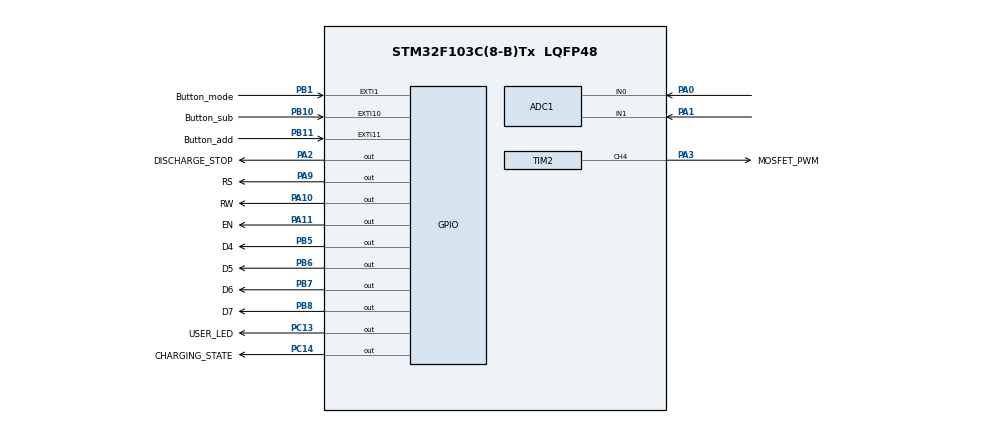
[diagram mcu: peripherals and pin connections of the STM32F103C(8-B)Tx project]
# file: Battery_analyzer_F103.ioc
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ADC1.Channel-2\#ChannelRegularConversion=ADC_CHANNEL_0
ADC1.Channel-3\#ChannelInjectedConversion=ADC_CHANNEL_VREFINT
ADC1.Channel-4\#ChannelRegularConversion=ADC_CHANNEL_1
ADC1.EnableInjectedConversion=ENABLE
ADC1.EnableRegularConversion=ENABLE
ADC1.ExternalTrigConv=ADC_EXTERNALTRIGCONV_T3_TRGO
ADC1.InjNumberOfConversion=1
ADC1.InjectedOffset-3\#ChannelInjectedConversion=0
ADC1.InjectedRank-3\#ChannelInjectedConversion=1
ADC1.NbrOfConversion=2
ADC1.NbrOfConversionFlag=1
ADC1.Rank-2\#ChannelRegularConversion=1
ADC1.Rank-4\#ChannelRegularConversion=2
ADC1.SamplingTime-2\#ChannelRegularConversion=ADC_SAMPLETIME_28CYCLES_5
ADC1.SamplingTime-3\#ChannelInjectedConversion=ADC_SAMPLETIME_71CYCLES_5
ADC1.SamplingTime-4\#ChannelRegularConversion=ADC_SAMPLETIME_28CYCLES_5
ADC1.master=1
Dma.ADC1.0.Direction=DMA_PERIPH_TO_MEMORY
Dma.ADC1.0.Instance=DMA1_Channel1
Dma.ADC1.0.MemDataAlignment=DMA_MDATAALIGN_HALFWORD
Dma.ADC1.0.MemInc=DMA_MINC_ENABLE
Dma.ADC1.0.Mode=DMA_CIRCULAR
Dma.ADC1.0.PeriphDataAlignment=DMA_PDATAALIGN_HALFWORD
Dma.ADC1.0.PeriphInc=DMA_PINC_DISABLE
Dma.ADC1.0.Priority=DMA_PRIORITY_LOW
Dma.Request0=ADC1
Mcu.Family=STM32F1
Mcu.Name=STM32F103C(8-B)Tx
Mcu.Package=LQFP48
NVIC.ADC1_2_IRQn=true\:0\:0\:false\:false\:true\:true\:true\:true
NVIC.DMA1_Channel1_IRQn=true\:0\:0\:false\:false\:true\:false\:true\:true
NVIC.EXTI15_10_IRQn=true\:0\:0\:false\:false\:true\:true\:true\:true
NVIC.EXTI1_IRQn=true\:0\:0\:false\:false\:true\:true\:true\:true
NVIC.PriorityGroup=NVIC_PRIORITYGROUP_4
NVIC.TIM3_IRQn=true\:0\:0\:false\:false\:true\:true\:true\:true
PA0-WKUP.Signal=ADCx_IN0
PA1.Signal=ADCx_IN1
PA10.GPIO_Label=RW
PA10.GPIO_PuPd=GPIO_PULLDOWN
PA10.GPIO_Speed=GPIO_SPEED_FREQ_HIGH
PA10.Signal=GPIO_Output
PA11.GPIO_Label=EN
PA11.GPIO_PuPd=GPIO_PULLDOWN
PA11.GPIO_Speed=GPIO_SPEED_FREQ_HIGH
PA11.Signal=GPIO_Output
PA13.Mode=Trace_Asynchronous_SW
PA13.Signal=SYS_JTMS-SWDIO
PA14.Mode=Trace_Asynchronous_SW
PA14.Signal=SYS_JTCK-SWCLK
PA2.GPIO_Label=DISCHARGE_STOP
PA2.GPIO_ModeDefaultOutputPP=GPIO_MODE_OUTPUT_PP
PA2.GPIO_PuPd=GPIO_NOPULL
PA2.Signal=GPIO_Output
PA3.GPIO_Label=MOSFET_PWM
PA3.GPIO_ModeDefaultPP=GPIO_MODE_AF_PP
PA3.GPIO_Speed=GPIO_SPEED_FREQ_HIGH
PA3.Signal=S_TIM2_CH4
PA9.GPIO_Label=RS
PA9.GPIO_PuPd=GPIO_PULLDOWN
PA9.GPIO_Speed=GPIO_SPEED_FREQ_HIGH
PA9.Signal=GPIO_Output
PB1.GPIO_Label=Button_mode
PB1.GPIO_ModeDefaultEXTI=GPIO_MODE_IT_RISING
PB1.GPIO_PuPd=GPIO_PULLDOWN
PB1.Signal=GPXTI1
PB10.GPIO_Label=Button_sub
PB10.GPIO_ModeDefaultEXTI=GPIO_MODE_IT_RISING
PB10.GPIO_PuPd=GPIO_PULLDOWN
PB10.Signal=GPXTI10
PB11.GPIO_Label=Button_add
PB11.GPIO_ModeDefaultEXTI=GPIO_MODE_IT_RISING
PB11.GPIO_PuPd=GPIO_PULLDOWN
PB11.Signal=GPXTI11
PB3.Mode=Trace_Asynchronous_SW
PB3.Signal=SYS_JTDO-TRACESWO
PB5.GPIO_Label=D4
PB5.GPIO_PuPd=GPIO_NOPULL
PB5.GPIO_Speed=GPIO_SPEED_FREQ_HIGH
PB5.Signal=GPIO_Output
PB6.GPIO_Label=D5
PB6.GPIO_PuPd=GPIO_NOPULL
PB6.GPIO_Speed=GPIO_SPEED_FREQ_HIGH
PB6.Signal=GPIO_Output
PB7.GPIO_Label=D6
PB7.GPIO_PuPd=GPIO_NOPULL
PB7.GPIO_Speed=GPIO_SPEED_FREQ_HIGH
PB7.Signal=GPIO_Output
PB8.GPIO_Label=D7
PB8.GPIO_PuPd=GPIO_NOPULL
PB8.GPIO_Speed=GPIO_SPEED_FREQ_HIGH
PB8.Signal=GPIO_Output
PC13-TAMPER-RTC.GPIO_Label=USER_LED
PC13-TAMPER-RTC.Signal=GPIO_Output
PC14-OSC32_IN.GPIO_Label=CHARGING_STATE
PC14-OSC32_IN.Signal=GPIO_Output
PD0-OSC_IN.Mode=HSE-External-Oscillator
PD0-OSC_IN.Signal=RCC_OSC_IN
PD1-OSC_OUT.Mode=HSE-External-Oscillator
PD1-OSC_OUT.Signal=RCC_OSC_OUT
ProjectManager.HeapSize=0x100
ProjectManager.StackSize=0x200
ProjectManager.TargetToolchain=STM32CubeIDE
RCC.APB1Freq_Value=8000000
RCC.APB2Freq_Value=8000000
RCC.PLLMUL=RCC_PLL_MUL6
RCC.PLLSourceVirtual=RCC_PLLSOURCE_HSE
RCC.SYSCLKSource=RCC_SYSCLKSOURCE_HSE
RCC.USBFreq_Value=48000000
SH.ADCx_IN0.0=ADC1_IN0,IN0
SH.ADCx_IN1.0=ADC1_IN1,IN1
SH.S_TIM2_CH4.0=TIM2_CH4,PWM Generation4 CH4
TIM2.AutoReloadPreload=TIM_AUTORELOAD_PRELOAD_ENABLE
TIM2.Channel-PWM\ Generation4\ CH4=TIM_CHANNEL_4
TIM2.Period=200-1
TIM2.Prescaler=0
TIM2.Pulse-PWM\ Generation4\ CH4=0
TIM3.Period=500-1
TIM3.Prescaler=8-1
TIM3.TIM_MasterOutputTrigger=TIM_TRGO_UPDATE
TIM4.Period=50000-1
TIM4.Prescaler=8-1
VP_ADC1_Vref_Input.Mode=IN-Vrefint
VP_TIM2_VS_ClockSourceINT.Mode=Internal
VP_TIM3_VS_ClockSourceINT.Mode=Internal
VP_TIM4_VS_ClockSourceINT.Mode=Internal
board=custom

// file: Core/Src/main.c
/* USER CODE BEGIN Header */
/**
 ******************************************************************************
 * @file           : main.c
 * @brief          : Main program body
 ******************************************************************************
 * @attention
 *
 * Copyright (c) 2025 STMicroelectronics.
 * All rights reserved.
 *
 * This software is licensed under terms that can be found in the LICENSE file
 * in the root directory of this software component.
 * If no LICENSE file comes with this software, it is provided AS-IS.
 *
 ******************************************************************************
 */
/* USER CODE END Header */
#include "main.h"
#include "adc.h"
#include "dma.h"
#include "tim.h"
#include "gpio.h"

/* USER CODE BEGIN Includes */
#include "LCD_16x2_PARALLEL.h"
#include <stdio.h>
#include <string.h>
/* USER CODE END Includes */

/* USER CODE BEGIN PD */
#define ALIGN_NO 0
#define ALIGN_LEFT 1
#define ALIGN_RIGHT 2
#define ALIGN_CENTER 3
#define BUTTON_DEBOUNCE_MS 30//30 ms for debouncing
#define BUTTON_LONG_PRESS 1000//2s long press

#define LCD_BUFFER_SIZE 32
#define R_load 0.22 //load ohms
#define R_divider_multiplier 1/(50/270.0f) // 50k/270k voltage divider to calculate battery voltage
#define Vrefint 1.2 //1.2V internal reference voltage
#define OVERCURRENT_VALUE 2000 // 2 A trip current
#define ADC_steps 4096

#define ADC_DMA_SIZE 100 //0.5ms sampling rate, 25 values on half callback, 2 channels, ping pong buffer
#define ADC_TRIGGER_FREQ_HZ 2000.0f //counter update rate
#define ADC_SAMPLES_PER_CHANNEL 25.0f
#define TIME_SLICE_S ADC_SAMPLES_PER_CHANNEL/ADC_TRIGGER_FREQ_HZ
#define MAH_CONVERSION (TIME_SLICE_S/3600.0f)
/* USER CODE END PD */

/* USER CODE BEGIN PV */
/*
 * 	START,
	SETUP,
	DISCHARGE,
	PAUSED,
	FINISH
 */
volatile FSM_states STATE_MCU_CURRENT = START;
volatile FSM_states STATE_MCU_PREVIOUS = START;
volatile SETUP_set SETUP_CONFIGURATION = SETUP_PARAM_DISCHARGE_CURRENT;

char LCD_buffer[LCD_BUFFER_SIZE];
uint16_t ADC_Values[ADC_DMA_SIZE];//ping pong buffer

volatile float Vdda = 3.3; //ref for measurements, calculated later by ADC with internal ref
volatile uint8_t updateScreenRequest = 1;//update at setup on first frame
volatile uint8_t button_activity = 0;
volatile uint8_t OverCurrent_indication = 0;
volatile uint32_t last_button_time = 0;

volatile uint16_t Discharge_current = 500;//mA
volatile uint16_t Cutoff_voltage = 3000;//mV

volatile uint32_t ADC_VOLTAGE_ACCUM = 0;
volatile uint32_t ADC_CURRENT_ACCUM = 0;
volatile uint16_t ADC_READING_COUNTER = 0;
volatile DischargeDisplayData_t DischargeDisplayData = {0};
/* USER CODE END PV */

void SystemClock_Config(void);
/* USER CODE BEGIN PFP */
int _write(int le, char *ptr, int len);
void DELAY_US(uint16_t TIME_US);
void charAddPadding(char* buffer, uint8_t align,uint8_t size);
void updateScreen();
void formatCharToLCD(char* message, uint8_t place, uint8_t level, uint8_t Padding);
void PWM_Control_loop(TIM_HandleTypeDef *htim, uint16_t *current, uint16_t voltage);
uint16_t CurrentToVoltage(uint32_t Shunt_voltage);//voltage on sense resistor
/* USER CODE END PFP */

int main(void)
{

  /* USER CODE BEGIN 1 */
	static uint32_t last_tick;
  /* USER CODE END 1 */

  /* MCU Configuration--------------------------------------------------------*/

  /* Reset of all peripherals, Initializes the Flash interface and the Systick. */
  HAL_Init();

  /* Configure the system clock */
  SystemClock_Config();

  /* Initialize all configured peripherals */
  MX_GPIO_Init();
  MX_DMA_Init();
  MX_TIM4_Init();
  MX_TIM3_Init();
  MX_ADC1_Init();
  MX_TIM2_Init();
  /* USER CODE BEGIN 2 */
	HAL_GPIO_WritePin(DISCHARGE_STOP_GPIO_Port, DISCHARGE_STOP_Pin,GPIO_PIN_SET);// OP AMP inv input to turn off discharge

	if(HAL_ADCEx_Calibration_Start(&hadc1) !=HAL_OK)
	{
		HAL_GPIO_WritePin(USER_LED_GPIO_Port, USER_LED_Pin, GPIO_PIN_SET);
		Error_Handler();
	}
	if(HAL_TIM_Base_Start_IT(&htim4)!=HAL_OK)//TIM2 for DELAY_US
	{
		HAL_GPIO_WritePin(USER_LED_GPIO_Port, USER_LED_Pin, GPIO_PIN_SET);
		Error_Handler();
	}

	HAL_Delay(500);// wait for DC point

	//Read internal reference for VDDA
	HAL_ADCEx_InjectedStart(&hadc1);
	HAL_ADCEx_InjectedPollForConversion(&hadc1, 500);
	uint16_t Vadc = HAL_ADCEx_InjectedGetValue(&hadc1, ADC_INJECTED_RANK_1);
	Vdda = 1.0*ADC_steps/Vadc*Vrefint;

	/*
	 * @brief Init in 4 bit LCD 16x2
	 */
	LCD_Init();
  /* USER CODE END 2 */

  /* Infinite loop */
  /* USER CODE BEGIN WHILE */
	while (1)
	{
		if(updateScreenRequest)//only perform LCD switch states on gpio change
		{
			updateScreen();
		}

		switch(STATE_MCU_CURRENT)
		{
		case  SETUP:
		{
			break;
		}
		case  DISCHARGE:
		{
			//ONCE TO DO
			if(STATE_MCU_CURRENT != STATE_MCU_PREVIOUS)
			{
				DischargeDisplayData.capacity_mah = 0;

				if(HAL_TIM_Base_Start_IT(&htim3)!=HAL_OK)//TIM3 for SAMPLING
				{
					HAL_GPIO_WritePin(USER_LED_GPIO_Port, USER_LED_Pin, GPIO_PIN_SET);
					Error_Handler();
				}
				if(HAL_ADC_Start_DMA(&hadc1, (uint32_t*)ADC_Values, ADC_DMA_SIZE)!=HAL_OK)//ADC SAMPLING DMA
				{
					HAL_GPIO_WritePin(USER_LED_GPIO_Port, USER_LED_Pin, GPIO_PIN_SET);
					Error_Handler();
				}
				if(HAL_TIM_PWM_Start(&htim2, TIM_CHANNEL_4)!=HAL_OK)//TIM2 for MOSFET PWM
				{
					HAL_GPIO_WritePin(USER_LED_GPIO_Port, USER_LED_Pin, GPIO_PIN_SET);
					Error_Handler();
				}
				STATE_MCU_PREVIOUS = STATE_MCU_CURRENT;
				DischargeDisplayData.start_time = uwTick;
				HAL_GPIO_WritePin(CHARGING_STATE_GPIO_Port, CHARGING_STATE_Pin,GPIO_PIN_RESET); // indication for charging
				HAL_GPIO_WritePin(DISCHARGE_STOP_GPIO_Port, DISCHARGE_STOP_Pin,GPIO_PIN_RESET);
				last_tick = uwTick;
				break;
			}

			//PERIODIC UPDATE
			if(uwTick - last_tick > 500)// 0.5s refresh rate
			{
				updateScreenRequest=1;
				uint32_t local_temp_volt;
				uint32_t local_temp_curr;
				uint16_t local_temp_count;

				__disable_irq();
				local_temp_volt = ADC_VOLTAGE_ACCUM;
				local_temp_curr = ADC_CURRENT_ACCUM;
				local_temp_count = ADC_READING_COUNTER;

				ADC_READING_COUNTER=0;
				ADC_CURRENT_ACCUM=0;
				ADC_VOLTAGE_ACCUM=0;
				__enable_irq();

				DischargeDisplayData.voltage = Vdda*local_temp_volt/local_temp_count/ADC_steps*R_divider_multiplier;//convert from ADC to Voltage NOT CORRECT
				DischargeDisplayData.current_ma = Vdda*local_temp_curr/local_temp_count/R_load/ADC_steps*1000;//curr is voltage(XD)

				last_tick = uwTick;

				if(HAL_GPIO_ReadPin(Button_add_GPIO_Port, Button_add_Pin)==GPIO_PIN_SET)
				{
					TIM2->CCR4 += 10;
				}

				if(HAL_GPIO_ReadPin(Button_sub_GPIO_Port, Button_sub_Pin)==GPIO_PIN_SET)
				{
					TIM2->CCR4 -= 10;
				}
			}
			break;
		}
		case  FINISH:
		{
			if(STATE_MCU_CURRENT != STATE_MCU_PREVIOUS)
			{
				if(HAL_TIM_Base_Stop_IT(&htim3)!=HAL_OK)//TIM3 for SAMPLING
				{
					HAL_GPIO_WritePin(USER_LED_GPIO_Port, USER_LED_Pin, GPIO_PIN_SET);
					Error_Handler();
				}
				if(HAL_ADC_Stop_DMA(&hadc1)!=HAL_OK)//ADC SAMPLING DMA
				{
					HAL_GPIO_WritePin(USER_LED_GPIO_Port, USER_LED_Pin, GPIO_PIN_SET);
					Error_Handler();
				}
				if(HAL_TIM_PWM_Stop(&htim2, TIM_CHANNEL_4)!=HAL_OK)//TIM2 for MOSFET PWM
				{
					HAL_GPIO_WritePin(USER_LED_GPIO_Port, USER_LED_Pin, GPIO_PIN_SET);
					Error_Handler();
				}
				STATE_MCU_PREVIOUS = STATE_MCU_CURRENT; //IMPLEMENTED IN BUTTON THE START
				HAL_GPIO_WritePin(CHARGING_STATE_GPIO_Port, CHARGING_STATE_Pin,GPIO_PIN_SET); // indication for charging
				HAL_GPIO_WritePin(DISCHARGE_STOP_GPIO_Port, DISCHARGE_STOP_Pin,GPIO_PIN_RESET);
				updateScreenRequest = 1;
				break;
			}
			break;
		}
		case  PAUSED:
		{

			break;
		}
		default:
		{

			break;
		}
		}

		if(button_activity)
		{
			if(HAL_GPIO_ReadPin(Button_mode_GPIO_Port, Button_mode_Pin) == GPIO_PIN_SET)
			{
				if(STATE_MCU_CURRENT == SETUP)
				{
					SETUP_CONFIGURATION = 	(SETUP_CONFIGURATION+1)%SETUP_PARAM_COUNT;
					while(HAL_GPIO_ReadPin(Button_mode_GPIO_Port, Button_mode_Pin) == GPIO_PIN_SET)
					{
						if(uwTick-last_button_time > BUTTON_LONG_PRESS)
						{
							STATE_MCU_CURRENT = DISCHARGE;
							STATE_MCU_PREVIOUS = SETUP;
							last_button_time = uwTick;
							break;//stop the loop, since its in different state now
						}
					}
				}

				if (STATE_MCU_CURRENT == DISCHARGE)
				{
						HAL_GPIO_TogglePin(DISCHARGE_STOP_GPIO_Port, DISCHARGE_STOP_Pin);
				}
				if(STATE_MCU_CURRENT == FINISH)
				{
					//reset for setup to start over
					STATE_MCU_CURRENT = SETUP;
					STATE_MCU_PREVIOUS = FINISH;
				}
			}

			else if(HAL_GPIO_ReadPin(Button_add_GPIO_Port, Button_add_Pin) == GPIO_PIN_SET)
			{
				if(STATE_MCU_CURRENT == SETUP)
				{
					if(SETUP_CONFIGURATION == SETUP_PARAM_CUTOFF_VOLTAGE)
					{
						Cutoff_voltage += 100;// 100 mV step
					}
					else if(SETUP_CONFIGURATION == SETUP_PARAM_DISCHARGE_CURRENT)
					{
						Discharge_current+=10;// 10 mA step
					}
					while(HAL_GPIO_ReadPin(Button_add_GPIO_Port, Button_add_Pin) == GPIO_PIN_SET)
					{
						if(uwTick-last_button_time > BUTTON_LONG_PRESS)
						{
							if(SETUP_CONFIGURATION == SETUP_PARAM_CUTOFF_VOLTAGE)
							{
								Cutoff_voltage += 100;// 100 mV step
							}
							else if(SETUP_CONFIGURATION == SETUP_PARAM_DISCHARGE_CURRENT)
							{
								Discharge_current+=10;// 10 mA step
							}
							DELAY_US(10000);
							updateScreen();//periodically update because of the auto increment
						}
					}
					last_button_time = uwTick;
				}
			}

			else if(HAL_GPIO_ReadPin(Button_sub_GPIO_Port, Button_sub_Pin) == GPIO_PIN_SET)
			{
				if(STATE_MCU_CURRENT == SETUP)
				{
					if(SETUP_CONFIGURATION == SETUP_PARAM_CUTOFF_VOLTAGE)
					{
						Cutoff_voltage -= 100;// 100 mV step
					}
					else if(SETUP_CONFIGURATION == SETUP_PARAM_DISCHARGE_CURRENT)
					{
						Discharge_current-=10;// 10 mA step
					}
					while(HAL_GPIO_ReadPin(Button_sub_GPIO_Port, Button_sub_Pin) == GPIO_PIN_SET)
					{
						if(uwTick-last_button_time > BUTTON_LONG_PRESS)
						{
							if(SETUP_CONFIGURATION == SETUP_PARAM_CUTOFF_VOLTAGE)
							{
								Cutoff_voltage -= 100;// 100 mV step
							}
							else if(SETUP_CONFIGURATION == SETUP_PARAM_DISCHARGE_CURRENT)
							{
								Discharge_current-=10;// 10 mA step
							}
							DELAY_US(10000);
							updateScreen();//periodically update because of the auto increment
						}
					}
					last_button_time = uwTick;
				}
			}
			button_activity = 0;
			updateScreenRequest = 1;
		}
	}

    /* USER CODE END WHILE */

}

void SystemClock_Config(void)
{
  RCC_OscInitTypeDef RCC_OscInitStruct = {0};
  RCC_ClkInitTypeDef RCC_ClkInitStruct = {0};
  RCC_PeriphCLKInitTypeDef PeriphClkInit = {0};

  /** Initializes the RCC Oscillators according to the specified parameters
  * in the RCC_OscInitTypeDef structure.
  */
  RCC_OscInitStruct.OscillatorType = RCC_OSCILLATORTYPE_HSE;
  RCC_OscInitStruct.HSEState = RCC_HSE_ON;
  RCC_OscInitStruct.PLL.PLLState = RCC_PLL_NONE;
  if (HAL_RCC_OscConfig(&RCC_OscInitStruct) != HAL_OK)
  {
    Error_Handler();
  }

  /** Initializes the CPU, AHB and APB buses clocks
  */
  RCC_ClkInitStruct.ClockType = RCC_CLOCKTYPE_HCLK|RCC_CLOCKTYPE_SYSCLK
                              |RCC_CLOCKTYPE_PCLK1|RCC_CLOCKTYPE_PCLK2;
  RCC_ClkInitStruct.SYSCLKSource = RCC_SYSCLKSOURCE_HSE;
  RCC_ClkInitStruct.AHBCLKDivider = RCC_SYSCLK_DIV1;
  RCC_ClkInitStruct.APB1CLKDivider = RCC_HCLK_DIV1;
  RCC_ClkInitStruct.APB2CLKDivider = RCC_HCLK_DIV1;

  if (HAL_RCC_ClockConfig(&RCC_ClkInitStruct, FLASH_LATENCY_0) != HAL_OK)
  {
    Error_Handler();
  }
  PeriphClkInit.PeriphClockSelection = RCC_PERIPHCLK_ADC;
  PeriphClkInit.AdcClockSelection = RCC_ADCPCLK2_DIV2;
  if (HAL_RCCEx_PeriphCLKConfig(&PeriphClkInit) != HAL_OK)
  {
    Error_Handler();
  }
}

/* USER CODE BEGIN 4 */
void DELAY_US(uint16_t TIME_US)
{
	uint32_t old_timer_value = TIM4->CNT;
	uint32_t target_time = (old_timer_value + TIME_US) % (TIM4->ARR + 1);

	if (target_time < old_timer_value)  // Handle timer overflow
	{
		while (TIM4->CNT >= old_timer_value);  // Wait for overflow
	}
	while (TIM4->CNT < target_time);  // Wait until target time is reached
}
void updateScreen()
{
	static uint32_t elapsed_time;
	updateScreenRequest = 0;
	switch(STATE_MCU_CURRENT)
	{
	case  START:
	{
		LCD_Init();

		sprintf(LCD_buffer,"Battery analyzer");
		formatCharToLCD(LCD_buffer,0,0,ALIGN_LEFT);

		sprintf(LCD_buffer,"BatVinux");
		formatCharToLCD(LCD_buffer,0,1,ALIGN_CENTER);

		HAL_Delay(1000);
		STATE_MCU_CURRENT = SETUP;
		break;
	}
	case  SETUP:
	{
		switch(SETUP_CONFIGURATION)
		{
		case(SETUP_PARAM_DISCHARGE_CURRENT):
		{
			sprintf(LCD_buffer,"Current, mA");
			formatCharToLCD(LCD_buffer,0,0,ALIGN_CENTER);

			sprintf(LCD_buffer,"%d",Discharge_current);
			formatCharToLCD(LCD_buffer,0,1,ALIGN_CENTER);
			break;
		}
		case(SETUP_PARAM_CUTOFF_VOLTAGE):
		{
			sprintf(LCD_buffer,"Cutoff voltage");
			formatCharToLCD(LCD_buffer,0,0,ALIGN_CENTER);

			//no float support (+10 kB flash)
			uint8_t temp1 = Cutoff_voltage/1000;
			uint8_t temp2 = (Cutoff_voltage/100)%10;
			sprintf(LCD_buffer,"%u.%u V",temp1,temp2);
			formatCharToLCD(LCD_buffer,1,1,ALIGN_CENTER);
			break;
		}
		default:
			LCD_CLEAR();
			break;
		}
		break;
	}
	case  DISCHARGE:
	{
		if(STATE_MCU_CURRENT != STATE_MCU_PREVIOUS)
		{
			sprintf(LCD_buffer,"Starting");
			formatCharToLCD(LCD_buffer,0,0,ALIGN_CENTER);

			sprintf(LCD_buffer,"the discharge...");
			formatCharToLCD(LCD_buffer,0,1,ALIGN_CENTER);

			HAL_Delay(2000);
			break;
		}
		if(OverCurrent_indication != 1)
		{
		//Printing the reading values
		uint16_t temp = (uint16_t)(((10*DischargeDisplayData.voltage)+0.5))%10;
		char buff[8];
		sprintf(buff,"%u.%u",(uint16_t)DischargeDisplayData.voltage,temp);
		sprintf(LCD_buffer,"%u mA, %s V",(uint16_t)(DischargeDisplayData.current_ma+0.5),buff);
		formatCharToLCD(LCD_buffer,0,0,ALIGN_LEFT);

		elapsed_time = (uwTick-DischargeDisplayData.start_time)/1000;
		sprintf(LCD_buffer,"%lu mAh, %lu s",(uint32_t)DischargeDisplayData.capacity_mah,elapsed_time);
		formatCharToLCD(LCD_buffer,0,1,ALIGN_LEFT);
		}
		else
		{
			sprintf(LCD_buffer,"OVERCURRENT");
			formatCharToLCD(LCD_buffer,0,0,ALIGN_LEFT);

			sprintf(LCD_buffer,"CHECK BATTERY");
			formatCharToLCD(LCD_buffer,1,0,ALIGN_LEFT);

			OverCurrent_indication = 0;
		}

		break;
	}
	case  FINISH:
	{
		sprintf(LCD_buffer,"DISCHARGED");
		formatCharToLCD(LCD_buffer,0,0,ALIGN_CENTER);

		uint32_t elapsed_time = (uwTick-DischargeDisplayData.start_time)/1000;
		sprintf(LCD_buffer,"%u mAh in %lu s?",(uint16_t)DischargeDisplayData.capacity_mah,elapsed_time);
		formatCharToLCD(LCD_buffer,0,1,ALIGN_CENTER);

		break;
	}
	case  PAUSED:
	{

		break;
	}
	default:
	{

		break;
	}
	}
}
//Add padding for LCD display
//If padding is added, place is 0, level is dependant on LCD top(0) or bottom(1)
void formatCharToLCD(char* message, uint8_t place, uint8_t level, uint8_t Padding)
{
	static uint8_t buffer_size;
	buffer_size = strlen(message);
	if(buffer_size != 0 && buffer_size <= LCD_COLS)
	{
		if(Padding==ALIGN_NO)
		{
			LCD_SEND_STR(message,place, level);
		}
		else if(Padding==ALIGN_LEFT)
		{
			charAddPadding(message, ALIGN_LEFT, buffer_size);
			LCD_SEND_STR(message,0, level);
		}
		else if(Padding==ALIGN_RIGHT)
		{
			charAddPadding(message, ALIGN_RIGHT, buffer_size);
			LCD_SEND_STR(message,0, level);
		}
		else if(Padding==ALIGN_CENTER)
		{
			charAddPadding(message, ALIGN_CENTER, buffer_size);
			LCD_SEND_STR(message,0, level);
		}
		else return;
	}
}

void charAddPadding(char* buffer, uint8_t align,uint8_t size)
{
	if(align == ALIGN_LEFT)
	{
		for(uint8_t i = size;i<LCD_COLS;i++)
		{
			buffer[i] = ' ';
		}
	}
	else if(align == ALIGN_RIGHT)
	{
		memmove(buffer+(LCD_COLS-size),buffer,size);// shift to the right
		for(uint8_t i = 0;i<LCD_COLS-size;i++)
		{
			buffer[i] = ' ';
		}
	}
	else if(align == ALIGN_CENTER)
	{
		uint8_t start_place = (LCD_COLS - size)/2;//left side
		memmove(buffer+start_place,buffer,size);// shift to the right
		for(uint8_t i = 0;i<start_place;i++)
		{
			buffer[i] = ' ';
		}
		start_place +=size;//right side
		for(uint8_t i = start_place;i<LCD_COLS;i++)
		{
			buffer[i] = ' ';
		}
	}
	else
	{
		return;
	}
}

void PWM_Control_loop(TIM_HandleTypeDef *htim, uint16_t *current, uint16_t voltage)
{
	if(*current > OVERCURRENT_VALUE)//overcurrent protection 2.5A
	{
		HAL_GPIO_WritePin(DISCHARGE_STOP_GPIO_Port, DISCHARGE_STOP_Pin,GPIO_PIN_SET);
		*current = 0;
		OverCurrent_indication = 1;
	}

	if(Cutoff_voltage > voltage)
	{
		HAL_GPIO_WritePin(DISCHARGE_STOP_GPIO_Port, DISCHARGE_STOP_Pin,GPIO_PIN_SET);
		STATE_MCU_CURRENT = FINISH;
		STATE_MCU_PREVIOUS = DISCHARGE;
	}
}

//INTERRUPT CALLBACKS

//EXTI
void HAL_GPIO_EXTI_Callback(uint16_t GPIO_Pin)
{
	if(uwTick-last_button_time > BUTTON_DEBOUNCE_MS)
	{
		button_activity = 1;
		last_button_time = uwTick;
	}

	//IMPLEMENT THE STARTING PROCESS
	//	STATE_MCU_CURRENT = DISCHARGE;
	//	STATE_MCU_PREVIOUS = SETUP;

}

void HAL_ADC_ConvHalfCpltCallback(ADC_HandleTypeDef* hadc)
{
	uint32_t adc_sum[2] = {0};
	static uint16_t Current_BATT;
	static uint16_t Voltage; // for cutoff calculation only

	//AVERAGING
	for(uint16_t i = 0; i < (ADC_DMA_SIZE/2)-1; i=i+2)
	{
		adc_sum[0] += ADC_Values[i];//first channel
		adc_sum[1] += ADC_Values[i+1];//second channel
	}
	adc_sum[0] = 4*adc_sum[0]/ADC_DMA_SIZE;
	adc_sum[1] = 4*adc_sum[1]/ADC_DMA_SIZE;

	//CURRENT AND MAH CONVERSION
	Current_BATT = 3300*adc_sum[1]/R_load/ADC_steps;//convert to mA
	Voltage = (uint16_t)((Vdda*adc_sum[0])*1000/ADC_steps*R_divider_multiplier);//in mV
	PWM_Control_loop(&htim2,&Current_BATT,Voltage);
	DischargeDisplayData.capacity_mah += Current_BATT*MAH_CONVERSION;

	//defensive guard band
	__disable_irq();
	ADC_VOLTAGE_ACCUM += adc_sum[0];
	ADC_CURRENT_ACCUM += adc_sum[1];
	ADC_READING_COUNTER+=1;
	__enable_irq();

	//printf("HalfCallback %lu",uwTick);
}

void HAL_ADC_ConvCpltCallback(ADC_HandleTypeDef* hadc)
{
	uint32_t adc_sum[2] = {0};
	static uint16_t Current_BATT;
	static uint16_t Voltage; // for cutoff calculation only

	for(uint16_t i = (ADC_DMA_SIZE/2); i < ADC_DMA_SIZE; i=i+2)
	{
		adc_sum[0] += ADC_Values[i];//first channel
		adc_sum[1] += ADC_Values[i+1];//second channel
	}
	//AVERAGES
	adc_sum[0] = 4*adc_sum[0]/ADC_DMA_SIZE;
	adc_sum[1] = 4*adc_sum[1]/ADC_DMA_SIZE;

	//CURRENT AND MAH CONVERSION
	Current_BATT = 3300*adc_sum[1]/R_load/ADC_steps;//convert to mA
	Voltage = (uint16_t)((Vdda*adc_sum[0])*1000/ADC_steps*R_divider_multiplier);//in mV
	PWM_Control_loop(&htim2,&Current_BATT,Voltage);
	DischargeDisplayData.capacity_mah += Current_BATT*MAH_CONVERSION;

	//defensive guard band
	__disable_irq();
	ADC_VOLTAGE_ACCUM += adc_sum[0];
	ADC_CURRENT_ACCUM += adc_sum[1];
	ADC_READING_COUNTER+=1;
	__enable_irq();

	//PWM CONTROL LOOP
	//printf("FullCallback %lu",uwTick);
}

int _write(int le, char *ptr, int len)
{
	int DataIdx;
	for(DataIdx = 0; DataIdx < len; DataIdx++)
	{
		ITM_SendChar(*ptr++);
	}
	return len;
}

/* USER CODE END 4 */

void Error_Handler(void)
{
  /* USER CODE BEGIN Error_Handler_Debug */
	/* User can add his own implementation to report the HAL error return state */
	__disable_irq();
	while (1)
	{
		HAL_GPIO_TogglePin(USER_LED_GPIO_Port, USER_LED_Pin);
		HAL_Delay(200);
	}
  /* USER CODE END Error_Handler_Debug */
}
